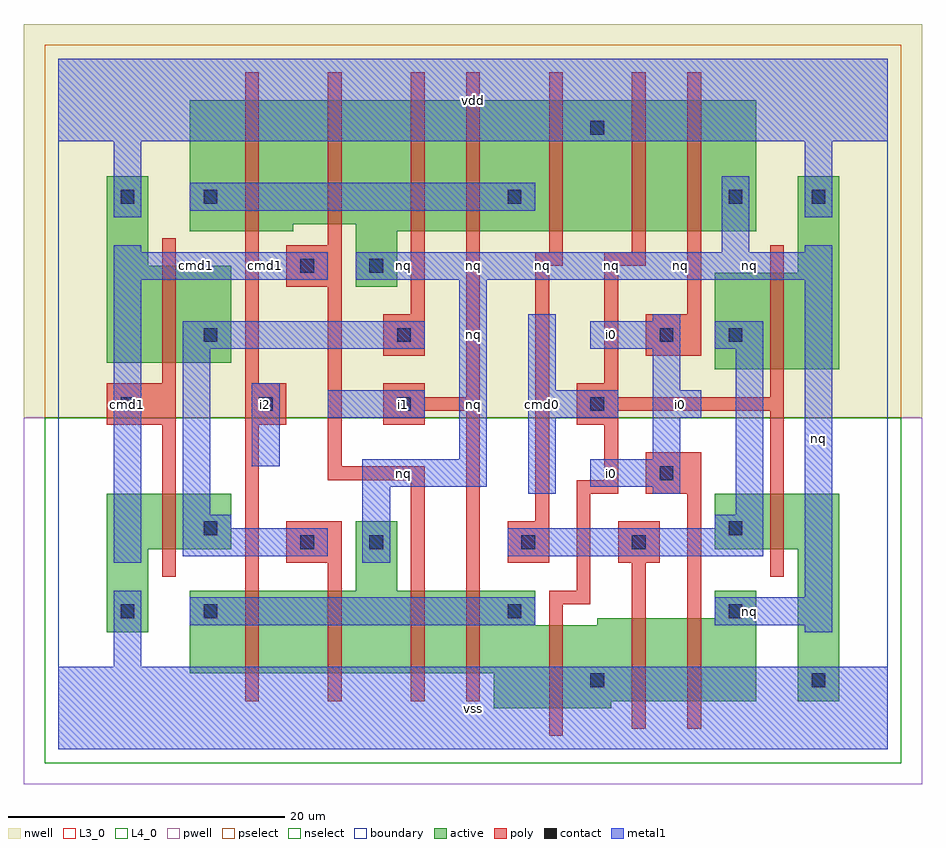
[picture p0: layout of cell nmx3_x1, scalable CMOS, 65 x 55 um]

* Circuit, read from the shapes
.subckt nmx3_x1 cmd0 cmd1 i0 i1 i2 nq vdd vss
M1 n1 cmd1 vss VSUBS nfet w=4u l=1u
M2 n2 i2 n3 VSUBS nfet w=6u l=1u
M3 nq n1 n2 VSUBS nfet w=6u l=1u
M4 n4 cmd1 nq VSUBS nfet w=6u l=1u
M5 n3 i1 n4 VSUBS nfet w=6u l=1u
M6 vss cmd0 n3 VSUBS nfet w=6u l=1u
M7 n5 n6 vss VSUBS nfet w=6u l=1u
M8 nq i0 n5 VSUBS nfet w=6u l=1u
M9 vss cmd0 n6 VSUBS nfet w=4u l=1u
M10 n1 cmd1 vdd n7 pfet w=7u l=1u
M11 n8 i2 n9 n7 pfet w=9.5u l=1u
M12 nq cmd1 n8 n7 pfet w=9u l=1u
M13 n10 n1 nq n7 pfet w=9.5u l=1u
M14 n9 i1 n10 n7 pfet w=9.5u l=1u
M15 vdd n6 n9 n7 pfet w=9.5u l=1u
M16 n11 cmd0 vdd n7 pfet w=9.5u l=1u
M17 nq i0 n11 n7 pfet w=9.5u l=1u
M18 vdd cmd0 n6 n7 pfet w=7u l=1u
.ends

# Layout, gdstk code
import gdstk
lib = gdstk.Library(unit=1e-6, precision=1e-09)
def R(c, l, rs):  # rectangles x0, y0, x1, y1
    for r in rs: c.add(gdstk.rectangle(r[:2], r[2:], *l))
def A(c, l, x, y, w, h, nx, ny, dx, dy):  # array of equal rectangles
    R(c, l, [(x+i*dx, y+j*dy, x+i*dx+w, y+j*dy+h) for i in range(nx) for j in range(ny)])
L3_0 = (3, 0)
L4_0 = (4, 0)
contact = (25, 0)
pwell = (41, 0)
nwell = (42, 0)
active = (43, 0)
pselect = (44, 0)
nselect = (45, 0)
poly = (46, 0)
metal1 = (49, 0)
boundary = (63, 0)

nmx3_x1 = lib.new_cell('nmx3_x1')
R(nmx3_x1, L3_0, [(31.5,3,40,3.5), (31.5,3.5,50.5,5.5), (53.5,3.5,56.5,14.5), (9.5,5.5,50.5,9), (3.5,8.5,6.5,14.5), (9.5,9,34.5,11.5), (39,9,50.5,9.5), (47.5,9.5,50.5,11.5), (21.5,11.5,24.5,16.5), (3.5,14.5,12.5,18.5), (47.5,14.5,56.5,18.5)])
R(nmx3_x1, L4_0, [(47.5,27.5,56.5,34.5), (3.5,28,12.5,35), (21.5,33.5,24.5,37.5), (53.5,34.5,56.5,41.5), (3.5,35,6.5,41.5), (9.5,37.5,17,38), (21.5,37.5,50.5,38), (9.5,38,50.5,47)])
A(nmx3_x1, contact, 38.5, 4.5, 1, 1, 1, 3, 0, 20)
A(nmx3_x1, contact, 4.5, 24.5, 1, 1, 3, 1, 10, 0)
R(nmx3_x1, contact, [(54.5,4.5,55.5,5.5), (4.5,9.5,5.5,10.5), (10.5,9.5,11.5,10.5), (32.5,9.5,33.5,10.5), (48.5,9.5,49.5,10.5), (17.5,14.5,18.5,15.5), (22.5,14.5,23.5,15.5), (33.5,14.5,34.5,15.5), (41.5,14.5,42.5,15.5), (10.5,15.5,11.5,16.5), (48.5,15.5,49.5,16.5), (43.5,19.5,44.5,20.5), (10.5,29.5,11.5,30.5), (24.5,29.5,25.5,30.5), (43.5,29.5,44.5,30.5), (48.5,29.5,49.5,30.5), (17.5,34.5,18.5,35.5), (22.5,34.5,23.5,35.5), (4.5,39.5,5.5,40.5), (10.5,39.5,11.5,40.5), (32.5,39.5,33.5,40.5), (48.5,39.5,49.5,40.5), (54.5,39.5,55.5,40.5)])
R(nmx3_x1, pwell, [(-2.5,-2.5,62.5,24)])
R(nmx3_x1, nwell, [(-2.5,24,62.5,52.5)])
R(nmx3_x1, active, [(31.5,3,40,3.5), (31.5,3.5,50.5,5.5), (53.5,3.5,56.5,14.5), (9.5,5.5,50.5,9), (3.5,8.5,6.5,14.5), (9.5,9,34.5,11.5), (39,9,50.5,9.5), (47.5,9.5,50.5,11.5), (21.5,11.5,24.5,16.5), (3.5,14.5,12.5,18.5), (47.5,14.5,56.5,18.5), (47.5,27.5,56.5,34.5), (3.5,28,12.5,35), (21.5,33.5,24.5,37.5), (53.5,34.5,56.5,41.5), (3.5,35,6.5,41.5), (9.5,37.5,17,38), (21.5,37.5,50.5,38), (9.5,38,50.5,47)])
R(nmx3_x1, pselect, [(-1,24,61,51)])
R(nmx3_x1, nselect, [(-1,-1,61,24)])
R(nmx3_x1, poly, [(35.5,1,36.5,10.5), (41.5,1.5,42.5,13.5), (45.5,1.5,46.5,18.5), (13.5,3.5,14.5,23.5), (19.5,3.5,20.5,13.5), (25.5,3.5,26.5,19.5), (29.5,3.5,30.5,24.5), (35.5,10.5,38.5,11.5), (37.5,11.5,38.5,18.5), (7.5,12.5,8.5,23.5), (51.5,12.5,52.5,24.5), (16.5,13.5,20.5,16.5), (32.5,13.5,35.5,16.5), (40.5,13.5,43.5,16.5), (34.5,16.5,35.5,35), (37.5,18.5,40.5,19.5), (42.5,18.5,46.5,21.5), (19.5,19.5,26.5,20.5), (39.5,19.5,40.5,23.5), (19.5,20.5,20.5,33.5), (3.5,23.5,8.5,26.5), (13.5,23.5,16.5,26.5), (23.5,23.5,26.5,24.5), (37.5,23.5,40.5,24.5), (23.5,24.5,30.5,25.5), (37.5,24.5,52.5,25.5), (23.5,25.5,26.5,26.5), (29.5,25.5,30.5,49), (37.5,25.5,40.5,26.5), (51.5,25.5,52.5,36.5), (7.5,26.5,8.5,37), (13.5,26.5,14.5,49), (39.5,26.5,40.5,35), (23.5,28.5,26.5,31.5), (42.5,28.5,46.5,31.5), (25.5,31.5,26.5,49), (45.5,31.5,46.5,49), (16.5,33.5,20.5,36.5), (34.5,35,36.5,36), (39.5,35,42.5,36), (35.5,36,36.5,49), (41.5,36,42.5,49), (19.5,36.5,20.5,49)])
R(nmx3_x1, metal1, [(0,0,60,6), (0,0,60,6), (4,6,6,11.5), (4,6,6,11.5), (54,8.5,56,9), (54,8.5,56,9), (9.5,9,34.5,11), (9.5,9,34.5,11), (47.5,9,56,11), (47.5,9,56,11), (54,11,56,34), (54,11,56,34), (4,13.5,6,34), (4,13.5,6,34), (22,13.5,24,19), (22,13.5,24,19), (9,14,19.5,16), (9,14,19.5,16), (32.5,14,51,16), (32.5,14,51,16), (9,16,12.5,17), (9,16,12.5,17), (47.5,16,51,17), (47.5,16,51,17), (9,17,11,29), (9,17,11,29), (49,17,51,29), (49,17,51,29), (34,18.5,36,24), (34,18.5,36,24), (43,18.5,45,19), (43,18.5,45,19), (22,19,31,21), (22,19,31,21), (38.5,19,45,21), (38.5,19,45,21), (14,20.5,16,26.5), (14,20.5,16,26.5), (29,21,31,34), (29,21,31,34), (43,21,45,24), (43,21,45,24), (19.5,24,26.5,26), (19.5,24,26.5,26), (34,24,40.5,26), (34,24,40.5,26), (43,24,46.5,26), (43,24,46.5,26), (34,26,36,31.5), (34,26,36,31.5), (43,26,45,29), (43,26,45,29), (9,29,26.5,31), (9,29,26.5,31), (38.5,29,45,31), (38.5,29,45,31), (47.5,29,51,31), (47.5,29,51,31), (43,31,45,31.5), (43,31,45,31.5), (4,34,19.5,36), (4,34,19.5,36), (21.5,34,56,36), (21.5,34,56,36), (4,36,6,36.5), (4,36,6,36.5), (48,36,50,41.5), (48,36,50,41.5), (54,36,56,36.5), (54,36,56,36.5), (4,38.5,6,44), (4,38.5,6,44), (54,38.5,56,44), (54,38.5,56,44), (9.5,39,34.5,41), (9.5,39,34.5,41), (0,44,60,50), (0,44,60,50)])
R(nmx3_x1, boundary, [(0,0,60,50)])
nmx3_x1.add(gdstk.Label('cmd1', (5,25), layer=49, texttype=0))
nmx3_x1.add(gdstk.Label('i2', (15,25), layer=49, texttype=0))
nmx3_x1.add(gdstk.Label('cmd1', (10,35), layer=49, texttype=0))
nmx3_x1.add(gdstk.Label('cmd1', (15,35), layer=49, texttype=0))
nmx3_x1.add(gdstk.Label('vss', (30,3), layer=49, texttype=0))
nmx3_x1.add(gdstk.Label('nq', (25,20), layer=49, texttype=0))
nmx3_x1.add(gdstk.Label('i1', (25,25), layer=49, texttype=0))
nmx3_x1.add(gdstk.Label('nq', (30,25), layer=49, texttype=0))
nmx3_x1.add(gdstk.Label('nq', (30,30), layer=49, texttype=0))
nmx3_x1.add(gdstk.Label('nq', (25,35), layer=49, texttype=0))
nmx3_x1.add(gdstk.Label('nq', (30,35), layer=49, texttype=0))
nmx3_x1.add(gdstk.Label('vdd', (30,47), layer=49, texttype=0))
nmx3_x1.add(gdstk.Label('i0', (40,20), layer=49, texttype=0))
nmx3_x1.add(gdstk.Label('cmd0', (35,25), layer=49, texttype=0))
nmx3_x1.add(gdstk.Label('i0', (45,25), layer=49, texttype=0))
nmx3_x1.add(gdstk.Label('i0', (40,30), layer=49, texttype=0))
nmx3_x1.add(gdstk.Label('nq', (35,35), layer=49, texttype=0))
nmx3_x1.add(gdstk.Label('nq', (40,35), layer=49, texttype=0))
nmx3_x1.add(gdstk.Label('nq', (45,35), layer=49, texttype=0))
nmx3_x1.add(gdstk.Label('nq', (50,10), layer=49, texttype=0))
nmx3_x1.add(gdstk.Label('nq', (55,22.5), layer=49, texttype=0))
nmx3_x1.add(gdstk.Label('nq', (50,35), layer=49, texttype=0))

lib.write_gds('nmx3_x1.gds')
